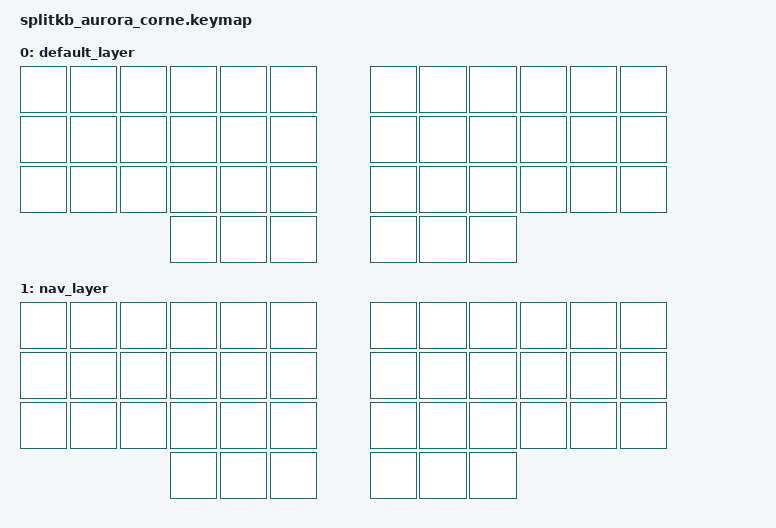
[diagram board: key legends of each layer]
/*
 * Copyright (c) 2020 The ZMK Contributors
 *
 * SPDX-License-Identifier: MIT
 *
 * https://github.com/dlip/zmk-taipo/
 */

#include <behaviors.dtsi>
#include <dt-bindings/zmk/bt.h>
#include <dt-bindings/zmk/keys.h>
#include <dt-bindings/zmk/outputs.h>

// CONFIG
#define COMBO_TIMEOUT 70
#define COMBO_LAYERS 0
#define STICKY_TIMEOUT 500

// LEFT SIDE
#define TLI 4 // TOP
#define TLM 3 // TOP
#define TLR 2 // TOP
#define TLP 1 // TOP
#define BLI 16 // BOTTOM
#define BLM 15 // BOTTOM
#define BLR 14 // BOTTOM
#define BLP 13 // BOTTOM
#define LOT 37 // O-THUMB
#define LIT 36 // I-THUMB

// -----------------------------------------------------------------------------------------
// | 0   | 1   | 2   | 3   | 4   | 5   |   | 6   | 7   | 8   | 9   | 10  | 11  |
// | 12  | 13  | 14  | 15  | 16  | 17  |   | 18  | 19  | 20  | 21  | 22  | 23  |
// | 24  | 25  | 26  | 27  | 28  | 29  |   | 30  | 31  | 32  | 33  | 34  | 35  |
//                   | 36  | 37  | 38  |   | 39  | 40  | 41  |

// RIGHT SIDE
#define TRI 7 // TOP
#define TRM 8 // TOP
#define TRR 9 // TOP
#define TRP 10 // TOP
#define BRI 19 // BOTTOM
#define BRM 20 // BOTTOM
#define BRR 21 // BOTTOM
#define BRP 22 // BOTTOM
#define ROT 40 // O-THUMB
#define RIT 41 // I-THUMB

&sk {
	release-after-ms = <STICKY_TIMEOUT>;
	quick-release;
};

/ {
combos {
	compatible = "zmk,combos";
	#include "taipo.dtsi"

	combo_l_space { \
		timeout-ms = <COMBO_TIMEOUT>; \
		bindings = <&kp SPACE>; \
		key-positions = <LOT>; \
		layers = <COMBO_LAYERS>; \
	};
};

	keymap {
		compatible = "zmk,keymap";

		default_layer {
			bindings = <
	&none       &none       &none       &none       &none       &none       &none       &none       &none       &none       &none       &none
	&none       &none       &none       &none       &none       &none       &none       &none       &none       &none       &none       &none
	&none       &none       &none       &none       &none       &none       &none       &none       &none       &none       &none       &none
	&none       &none       &none                                           &none       &none       &none
			>;
		};

		nav_layer {
			bindings = <
	&none       &none       &none       &none       &none       &none       &none       &none       &none       &none       &none       &none
	&none       &none       &none       &none       &none       &none       &none       &none       &none       &none       &none       &none
	&none       &none       &none       &none       &none       &none       &none       &none       &none       &none       &none       &none
	&none       &none       &none                                           &none       &none       &none
			>;
		};
	};
};
